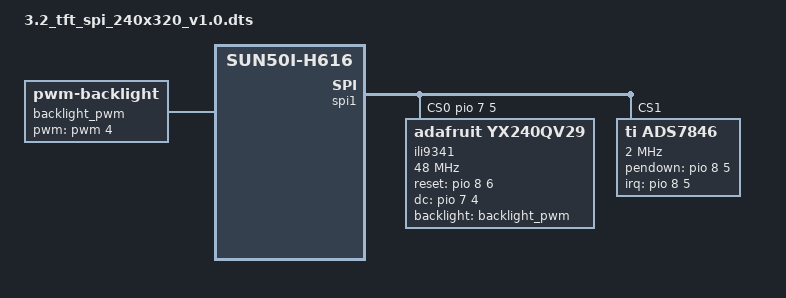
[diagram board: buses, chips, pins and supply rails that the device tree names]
/dts-v1/;
/plugin/;
/ {
    compatible = "allwinner,sun50i-h616";
    fragment@0 {
        target-path = "/";
        __overlay__ {
            /*backlight_gpio: backlight_gpio {
                compatible = "gpio-backlight";
		gpios = <&pio 8 14 0>; // PI14
                default-on;
	    };*/
            backlight_pwm: backlight_pwm {
                compatible = "pwm-backlight";
                brightness-levels = <0 25 50 75 100 125 150 175 200 225 255>;
		default-brightness-level = <6>;
		pwms = <&pwm 4 25000 0>; // PI14
                pwm-names = "backlight";
		status = "okay";
            };
        };
    };
    fragment@1 {
        target = <&spi1>;
        __overlay__ {
            status = "okay";
	    cs-gpios = <&pio 7 5 0>; /*PH5=CS0 PH9=CS1*/
            ili9341: ili9341@0 {
                compatible = "adafruit,yx240qv29", "ilitek,ili9341";
                reg = <0>;
                pinctrl-names = "default";
                spi-max-frequency = <48000000>;
                fps = <60>;
                rotation = <270>;
                reset-gpios = <&pio 8 6 0>; /* PI6 */
                dc-gpios = <&pio 7 4 0>; /* PH4 */
                backlight = <&backlight_pwm>;
                debug = <4>;
            };
            ads7846: ads7846@0 {
                compatible = "ti,ads7846";
                reg = <1>;
                pinctrl-names = "default";
                spi-max-frequency = <2000000>;
                interrupts = <8 5 1>; /* PI5 - IRQ */
                interrupt-parent = <&pio>;
                pendown-gpio = <&pio 8 5 0>; /* PI5 */

                ti,swap-xy = <1>;
                ti,keep_vref_on = /bits/ 16 <1>;
                ti,x-min = /bits/ 16 <280>;
                ti,y-min = /bits/ 16 <350>;
                ti,x-max = /bits/ 16 <3850>;
                ti,y-max = /bits/ 16 <3850>;
                ti,pressure-min = /bits/ 16 <0>;
		ti,pressure-max = /bits/ 16 <255>;
                ti,x-plate-ohms = /bits/ 16 <133>;
                ti,debounce-max = /bits/ 16 <50>;
                ti,debounce-tol = /bits/ 16 <30>;
                ti,debounce-rep = /bits/ 16 <1>;
		wakeup-source;
	    };
        };
    };
};
